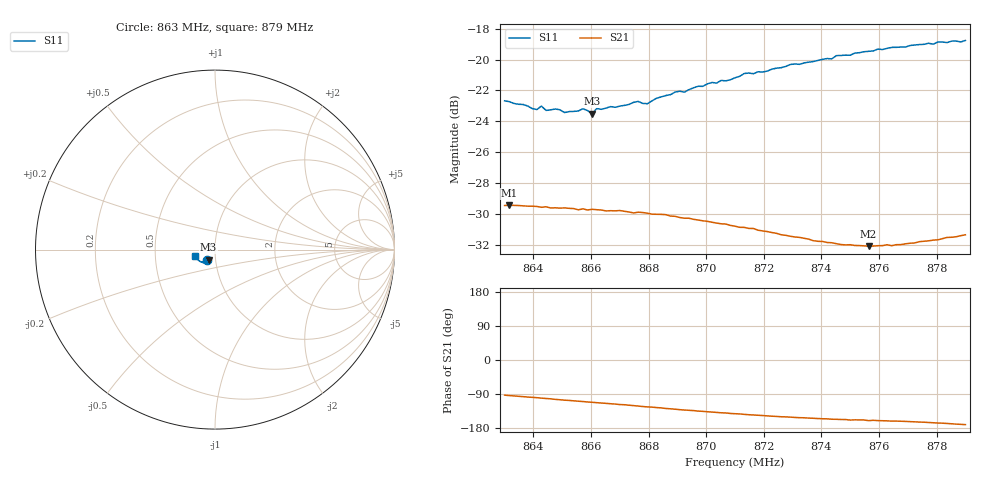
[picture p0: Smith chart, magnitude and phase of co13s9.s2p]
# HZ S RI R 50
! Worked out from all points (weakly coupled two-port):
!   101 points, 863 MHz to 879 MHz, reference 50 ohm
!   highest |S21| = -29.46 dB at 863.16 MHz (marker M1); lowest = -32.1 dB at 875.64 MHz (marker M2)
!   lowest |S11| = -23.5 dB at 866.04 MHz (marker M3), VSWR 1.14, Z = 46.3 - j5.25 ohm
!   |S11| at or under -10 dB: start of sweep to end of sweep
!   S12 and S22 are empty: the file has one direction only
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8.63e8  -0.0469 -0.0565  -0.00161 -0.0336  0 0  0 0
8.6316e8  -0.0468 -0.0561  -0.00224 -0.0336  0 0  0 0
8.6412e8  -0.0411 -0.0553  -0.00547 -0.0329  0 0  0 0
8.6428e8  -0.0422 -0.0567  -0.00613 -0.0326  0 0  0 0
8.6444e8  -0.0408 -0.0549  -0.00668 -0.0326  0 0  0 0
8.6476e8  -0.0407 -0.0559  -0.00792 -0.0321  0 0  0 0
8.6508e8  -0.0383 -0.0553  -0.00911 -0.0317  0 0  0 0
8.6572e8  -0.0372 -0.0584  -0.011 -0.0309  0 0  0 0
8.6604e8  -0.0356 -0.0565  -0.012 -0.0304  0 0  0 0
8.662e8  -0.0371 -0.0587  -0.0125 -0.0301  0 0  0 0
8.6684e8  -0.0366 -0.0597  -0.0143 -0.029  0 0  0 0
8.6764e8  -0.0379 -0.0626  -0.0167 -0.0272  0 0  0 0
8.6796e8  -0.036 -0.0622  -0.0177 -0.0264  0 0  0 0
8.6844e8  -0.0375 -0.0658  -0.0187 -0.0253  0 0  0 0
8.71e8  -0.0499 -0.0716  -0.0226 -0.0178  0 0  0 0
8.7132e8  -0.0522 -0.0735  -0.0229 -0.017  0 0  0 0
8.7164e8  -0.0523 -0.0732  -0.0232 -0.0162  0 0  0 0
8.7292e8  -0.0628 -0.0732  -0.0233 -0.0131  0 0  0 0
8.7372e8  -0.0676 -0.0717  -0.0232 -0.0114  0 0  0 0
8.7564e8  -0.0842 -0.065  -0.0233 -0.00846  0 0  0 0
8.7644e8  -0.0917 -0.0599  -0.0236 -0.00797  0 0  0 0
8.79e8  -0.1088 -0.0384  -0.0266 -0.00444  0 0  0 0
